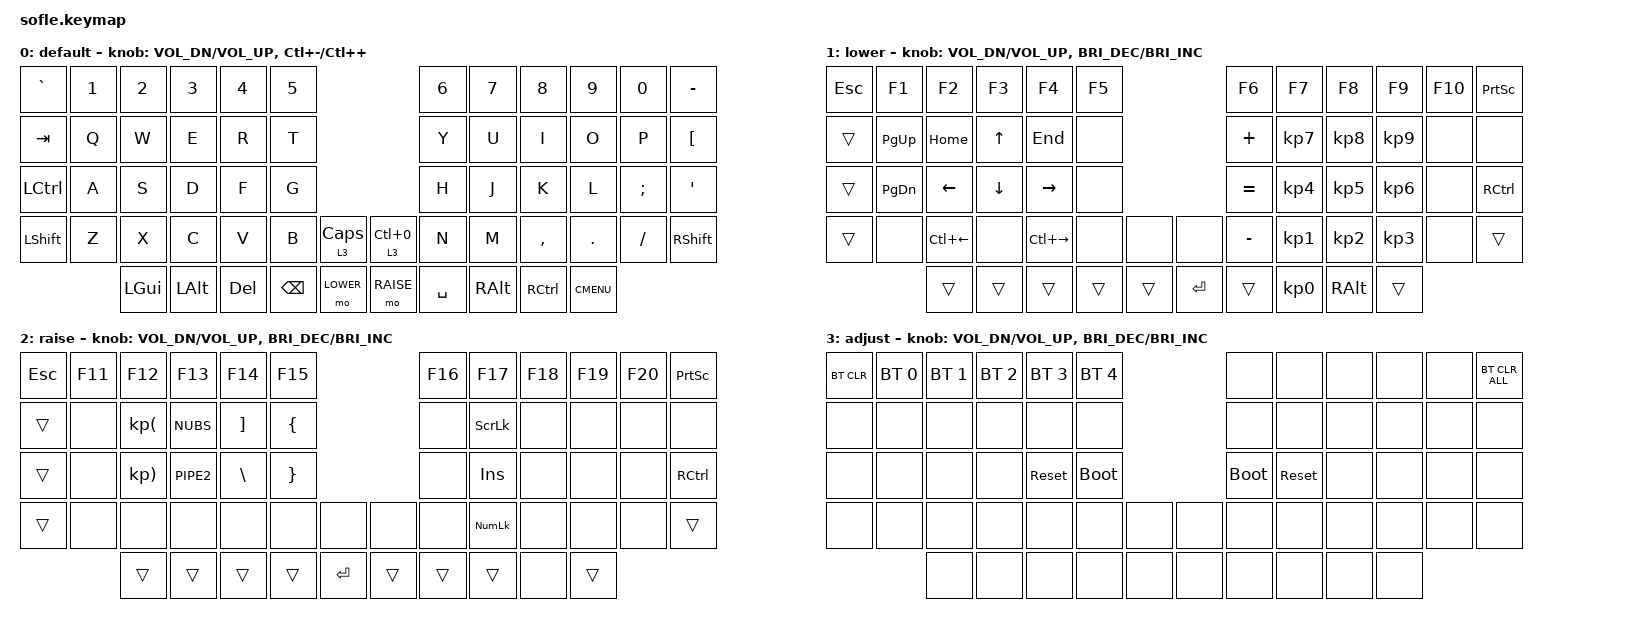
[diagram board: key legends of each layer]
/*
 * Copyright (c) 2020 The ZMK Contributors
 *
 * SPDX-License-Identifier: MIT
 */

#include <behaviors.dtsi>
#include <dt-bindings/zmk/keys.h>
#include <dt-bindings/zmk/bt.h>
#include <dt-bindings/zmk/rgb.h>
#include <dt-bindings/zmk/ext_power.h>

#define BASE 0
#define LOWER 1
#define RAISE 2
#define ADJUST 3

/ {    
    keymap {
        compatible = "zmk,keymap";
        default_layer {
            display-name = "default";
// -------------------------------------------------  default layer   -------------------------------------------------
// | GRAVE |   1   |   2   |   3   |   4   |   5   |                  |   6   |   7   |   8   |   9   |   0   | MINUS |
// |  TAB  |   Q   |   W   |   E   |   R   |   T   |                  |   Y   |   U   |   I   |   O   |   P   | LBRCT |
// | LCTRL |   A   |   S   |   D   |   F   |   G   |--------  --------|   H   |   J   |   K   |   L   |   ;   |   '   |
// | SHIFT |   Z   |   X   |   C   |   V   |   B   | CAPS3 |  | RSTZ3 |   N   |   M   |   ,   |   .   |   /   | SHIFT |
// ----------------| LTGUI |  ALT  |  DEL  | BKSPC | LOWER |  | RAISE | SPACE | ALTGR | RCTRL | CMENU |----------------
//                 -----------------------------------------  -----------------------------------------
            bindings = <
&kp GRAVE &kp N1 &kp N2   &kp N3   &kp N4    &kp N5                             &kp N6    &kp N7    &kp N8    &kp N9   &kp N0   &kp MINUS
&kp TAB   &kp Q  &kp W    &kp E    &kp R     &kp T                              &kp Y     &kp U     &kp I     &kp O    &kp P    &kp LBKT
&kp LCTRL &kp A  &kp S    &kp D    &kp F     &kp G                              &kp H     &kp J     &kp K     &kp L    &kp SEMI &kp SQT
&kp LSHFT &kp Z  &kp X    &kp C    &kp V     &kp B      &lt 3 CLCK &lt 3 LC(N0) &kp N     &kp M     &kp COMMA &kp DOT  &kp FSLH &kp RSHFT
                 &kp LGUI &kp LALT &kp DEL   &kp BSPC   &mo LOWER  &mo RAISE    &kp SPACE &kp RALT  &kp RCTRL &kp K_CMENU
            >;
            sensor-bindings = <&inc_dec_kp C_VOL_DN C_VOL_UP &inc_dec_kp LC(MINUS) LC(PLUS)>;
        };

        lower_layer {
            display-name = "lower";
// -------------------------------------------------                  -------------------------------------------------
// |  ESC  |  F01  |  F02  |  F03  |  F04  |  F05  |                  |  F06  |  F07  |  F08  |  F09  |  F10  | PRINT |
// |  TAB  | PAGUP |  HOM  |  UPA  |  END  |       |                  |   +   |   7   |   8   |   9   |       |       |
// | LCTRL | PAGDN | LEFTA | DOWNA | RIGHT |       |--------  --------|   =   |   4   |   5   |   6   |       | RCTRL |
// | SHIFT |       | PRVWD |       | NXTWD |       |       |  |       |   -   |   1   |   2   |   3   |       | SHIFT |
// ----------------| LTGUI |  ALT  |  DEL  | BKSPC | xxxxx |  | ENTER | SPACE |   0   |  ALT  | CMENU |----------------
//                 -----------------------------------------  -----------------------------------------  
            bindings = <
&kp ESC &kp F1     &kp F2       &kp F3   &kp F4        &kp F5                         &kp F6    &kp F7     &kp F8     &kp F9     &kp F10  &kp PSCRN
&trans  &kp PG_UP  &kp HOME     &kp UP   &kp END       &none                          &kp PLUS  &kp KP_N7  &kp KP_N8  &kp KP_N9  &none    &none
&trans  &kp PG_DN  &kp LEFT     &kp DOWN &kp RIGHT     &none                          &kp EQUAL &kp KP_N4  &kp KP_N5  &kp KP_N6  &none    &kp RCTRL
&trans  &none      &kp LC(LEFT) &none    &kp LC(RIGHT) &none    &none      &none      &kp MINUS &kp KP_N1  &kp KP_N2  &kp KP_N3  &none    &trans
                   &trans       &trans   &trans        &trans   &trans     &kp ENTER  &trans    &kp KP_N0  &kp RALT   &trans
            >;
            sensor-bindings = <&inc_dec_kp C_VOL_DN C_VOL_UP &inc_dec_kp C_BRI_DEC C_BRI_INC>;
        };

        raise_layer {
            display-name = "raise";
// -------------------------------------------------                  -------------------------------------------------
// |  ESC  |  F11  |  F12  |  F13  |  F14  |  F15  |                  |  F16  |  F17  |  F18  |  F19  |  F20  | PRINT |
// |  TAB  |       |   (   |   \   |   [   | LBRAC |                  |       | SCRLK |       |       |       |       |
// | LCTRL |       |   )   |   |   |   ]   | RBRAC |--------  --------|       |  INS  |       |       |       | RCTRL |
// | SHIFT |       |       |       |       |       |       |  |       |       | NUMLK |       |       |       | SHIFT |
// ----------------| LTGUI |  ALT  |  DEL  | BKSPC | ENTER |  | xxxxx | SPACE | ALTGR |       | CMENU |----------------
//                 -----------------------------------------  ----------------------------------------- insert scroll 
            bindings = <
&kp ESC &kp F11    &kp F12     &kp F13   &kp F14   &kp F15                     &kp F16  &kp F17         &kp F18  &kp F19  &kp F20  &kp PSCRN
&trans  &none      &kp KP_LPAR &kp NUBS  &kp RBKT  &kp LBRC                       &none    &kp SLCK        &none    &none    &none    &none
&trans  &none      &kp KP_RPAR &kp PIPE2 &kp BSLH  &kp RBRC                       &none    &kp INS         &none    &none    &none    &kp RCTRL
&trans  &none      &none       &none     &none     &none    &none      &none   &none    &kp KP_NUMLOCK  &none    &none    &none    &trans
                   &trans      &trans    &trans    &trans   &kp ENTER  &trans  &trans   &trans          &none    &trans
            >;
            sensor-bindings = <&inc_dec_kp C_VOL_DN C_VOL_UP &inc_dec_kp C_BRI_DEC C_BRI_INC>;
        };

        adjust_layer {
            display-name = "adjust";

// combo encoder buttons
// -------------------------------------------------                  -------------------------------------------------
// | BTCLR |  BT1  |  BT2  |  BT3  |  BT4  |  BT5  |                  |       |       |       |       |       | CLALL |
// |       |       |       |       |       |       |                  |       |       |       |       |       |       |
// |       |       |       |       |  RST  | RSTBL |--------  --------| RSTBL |  RST  |       |       |       |       |
// |       |       |       |       |       |       |       |  |       |       |       |       |       |       |       |
// ----------------|       |       |       |       |       |  |       |       |       |       |       |----------------
//                 -----------------------------------------  -----------------------------------------

            bindings = <
&bt BT_CLR  &bt BT_SEL 0  &bt BT_SEL 1  &bt BT_SEL 2  &bt BT_SEL 3  &bt BT_SEL 4              &none        &none      &none  &none  &none  &bt BT_CLR_ALL
&none       &none         &none         &none         &none         &none                     &none        &none      &none  &none  &none  &none
&none       &none         &none         &none         &sys_reset    &bootloader               &bootloader  &sys_reset &none  &none  &none  &none
&none       &none         &none         &none         &none         &none        &none  &none &none        &none      &none  &none  &none  &none 
                          &none         &none         &none         &none        &none  &none &none        &none      &none  &none
            >;
            sensor-bindings = <&inc_dec_kp C_VOL_DN C_VOL_UP &inc_dec_kp C_BRI_DEC C_BRI_INC>;
        };
    };
};
